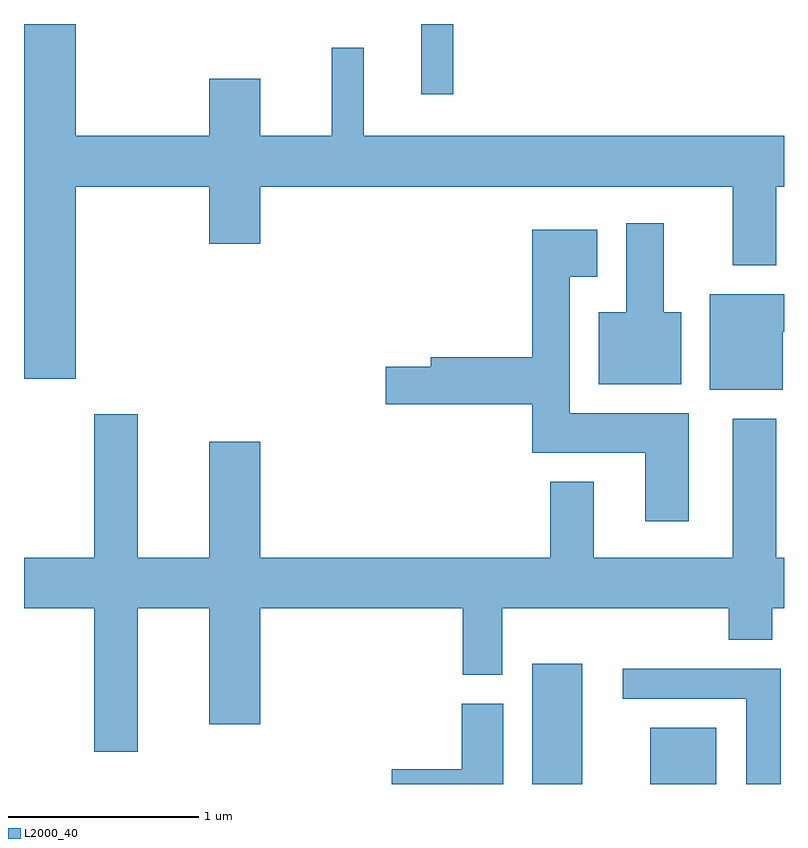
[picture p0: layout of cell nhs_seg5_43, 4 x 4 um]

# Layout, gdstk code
import gdstk
lib = gdstk.Library(unit=1e-6, precision=1e-09)
def R(c, l, rs):  # rectangles x0, y0, x1, y1
    for r in rs: c.add(gdstk.rectangle(r[:2], r[2:], *l))
def P(c, l, *ps):  # polygons
    for p in ps: c.add(gdstk.Polygon(p, *l))
L2000_40 = (2000, 40)

nhs_seg5_43 = lib.new_cell('nhs_seg5_43')
R(nhs_seg5_43, L2000_40, [(188.286,1478.072,188.549,1478.704), (188.906,1478.072,189.254,1478.369), (187.701,1481.703,187.869,1482.072)])
P(nhs_seg5_43, L2000_40, [(185.884,1481.216),(186.586,1481.216),(186.586,1480.916),(186.854,1480.916),(186.854,1481.216),(189.341,1481.216),(189.341,1480.801),(189.569,1480.801),(189.569,1481.216),(189.611,1481.216),(189.611,1481.484),(187.399,1481.484),(187.399,1481.948),(187.231,1481.948),(187.231,1481.484),(186.854,1481.484),(186.854,1481.784),(186.586,1481.784),(186.586,1481.484),(185.884,1481.484),(185.884,1482.072),(185.611,1482.072),(185.611,1480.206),(185.884,1480.206)],
  [(189.069,1480.554),(188.979,1480.554),(188.979,1481.024),(188.781,1481.024),(188.781,1480.554),(188.636,1480.554),(188.636,1480.176),(189.069,1480.176)],
  [(189.109,1480.024),(188.484,1480.024),(188.484,1480.741),(188.629,1480.741),(188.629,1480.989),(188.286,1480.989),(188.286,1480.319),(187.751,1480.319),(187.751,1480.269),(187.516,1480.269),(187.516,1480.071),(188.286,1480.071),(188.286,1479.816),(188.881,1479.816),(188.881,1479.456),(189.109,1479.456)],
  [(189.604,1480.451),(189.611,1480.451),(189.611,1480.649),(189.221,1480.649),(189.221,1480.146),(189.604,1480.146)],
  [(186.209,1478.996),(186.586,1478.996),(186.586,1478.386),(186.854,1478.386),(186.854,1478.996),(187.921,1478.996),(187.921,1478.646),(188.129,1478.646),(188.129,1478.996),(189.321,1478.996),(189.321,1478.831),(189.549,1478.831),(189.549,1478.996),(189.611,1478.996),(189.611,1479.264),(189.569,1479.264),(189.569,1479.994),(189.341,1479.994),(189.341,1479.264),(188.609,1479.264),(188.609,1479.664),(188.381,1479.664),(188.381,1479.264),(186.854,1479.264),(186.854,1479.874),(186.586,1479.874),(186.586,1479.264),(186.209,1479.264),(186.209,1480.019),(185.981,1480.019),(185.981,1479.264),(185.611,1479.264),(185.611,1478.996),(185.981,1478.996),(185.981,1478.241),(186.209,1478.241)],
  [(189.594,1478.679),(188.763,1478.679),(188.763,1478.521),(189.411,1478.521),(189.411,1478.072),(189.594,1478.072)],
  [(188.134,1478.494),(187.916,1478.494),(187.916,1478.149),(187.546,1478.149),(187.546,1478.072),(188.134,1478.072)])

lib.write_gds('nhs_seg5_43.gds')
